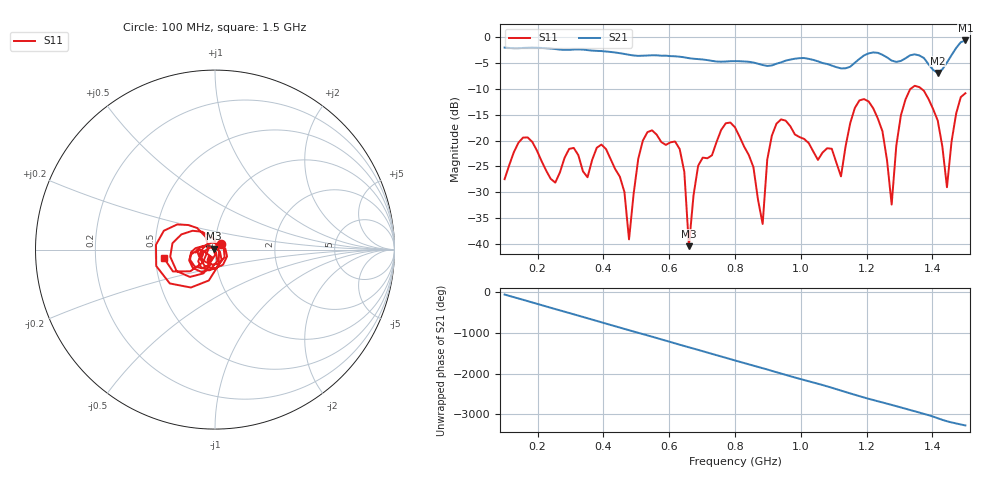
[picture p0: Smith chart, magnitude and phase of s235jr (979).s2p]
! NanoVNA-App
! Date: 2025-09-25 15:11:47
! Start: 100MHz Stop: 1,5GHz Points: 101
! S-Parameter data: F S11 S21 S12 S22
# Hz S RI R 50
!  Frequency  S11_Real  S11_Imag  S21_Real  S21_Imag  S12_Real  S12_Imag  S22_Real  S22_Imag
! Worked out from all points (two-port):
!   101 points, 100 MHz to 1.5 GHz, reference 50 ohm
!   highest |S21| = -0.59 dB at 1.5 GHz (marker M1); lowest = -6.9 dB at 1.416 GHz (marker M2)
!   |S21| within 3 dB of the highest: start of sweep to 598.4 MHz; 1.19 GHz to 1.254 GHz (64.15 MHz wide, 5.25 % of centre) (the widest 2 of 4)
!   lowest |S11| = -40.5 dB at 660 MHz (marker M3), VSWR 1.02, Z = 49.2 + j0.535 ohm
!   |S11| at or under -10 dB: start of sweep to 1.333 GHz; 1.367 GHz to end of sweep
!   S12 and S22 are empty: the file has one direction only
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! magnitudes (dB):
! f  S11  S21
! 100 MHz  -27.5  -2.0
! 156 MHz  -19.4  -2.0
! 338 MHz  -26.0  -2.4
! 408 MHz  -21.6  -2.7
! 478 MHz  -39.1  -3.4
! 520 MHz  -20.0  -3.5
! 576 MHz  -20.3  -3.5
! 632 MHz  -21.6  -3.7
! 660 MHz  -40.5  -4.0
! 688 MHz  -24.9  -4.2
! 800 MHz  -17.4  -4.6
! 884 MHz  -36.2  -5.3
! 926 MHz  -16.7  -5.1
! 1.038 GHz  -22.1  -4.4
! 1.122 GHz  -26.9  -6.0
! 1.206 GHz  -12.4  -3.1
! 1.248 GHz  -18.2  -3.4
! 1.276 GHz  -32.4  -4.5
! 1.332 GHz  -10.0  -3.5
! 1.416 GHz  -16.1  -6.9
! 1.444 GHz  -29.0  -4.9
! 1.5 GHz  -10.8  -0.6
